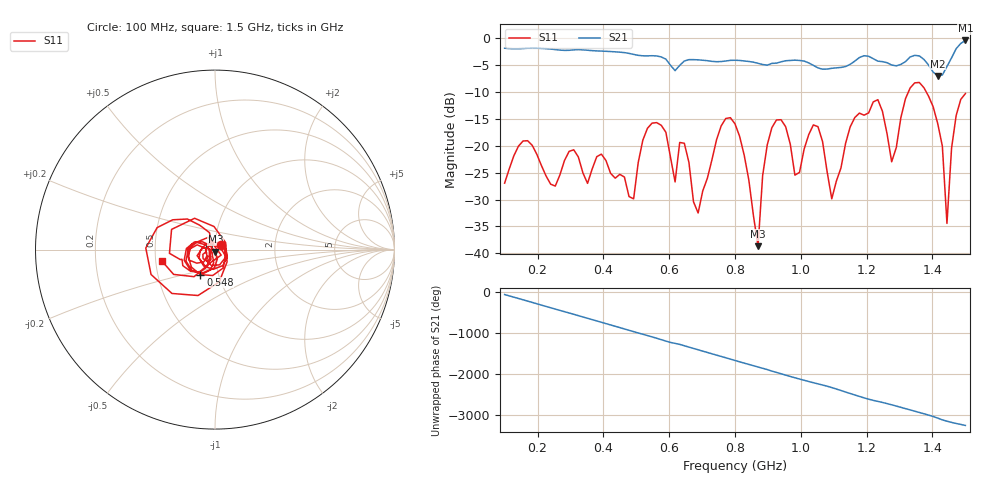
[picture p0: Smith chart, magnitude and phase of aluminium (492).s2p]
! NanoVNA-App
! Date: 2025-09-25 14:59:06
! Start: 100MHz Stop: 1,5GHz Points: 101
! S-Parameter data: F S11 S21 S12 S22
# Hz S RI R 50
!  Frequency  S11_Real  S11_Imag  S21_Real  S21_Imag  S12_Real  S12_Imag  S22_Real  S22_Imag
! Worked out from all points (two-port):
!   101 points, 100 MHz to 1.5 GHz, reference 50 ohm
!   highest |S21| = -0.48 dB at 1.5 GHz (marker M1); lowest = -7.1 dB at 1.416 GHz (marker M2)
!   |S21| within 3 dB of the highest: start of sweep to 571.6 MHz; 1.46 GHz to end of sweep (the widest 2 of 4)
!   lowest |S11| = -38.7 dB at 870 MHz (marker M3), VSWR 1.02, Z = 50.2 - j1.16 ohm
!   |S11| at or under -10 dB: start of sweep to 1.327 GHz; 1.381 GHz to end of sweep
!   S12 and S22 are empty: the file has one direction only
!   S11 on the Smith chart (normalised r, x): 100 MHz: 1.07, +0.06; 548 MHz: 0.82, -0.23; 1.5 GHz: 0.54, -0.07
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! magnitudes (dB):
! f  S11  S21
! 100 MHz  -27.0  -1.9
! 156 MHz  -19.1  -2.0
! 338 MHz  -25.1  -2.2
! 492 MHz  -29.9  -3.1
! 548 MHz  -15.8  -3.3
! 576 MHz  -16.2  -3.5
! 618 MHz  -26.7  -6.1
! 646 MHz  -19.6  -4.3
! 688 MHz  -32.5  -4.1
! 800 MHz  -16.0  -4.2
! 870 MHz  -38.7  -4.7
! 912 MHz  -16.7  -4.7
! 982 MHz  -25.5  -4.1
! 1.038 GHz  -16.2  -5.1
! 1.094 GHz  -29.9  -5.6
! 1.22 GHz  -11.9  -3.9
! 1.276 GHz  -23.0  -5.0
! 1.346 GHz  -8.4  -3.2
! 1.416 GHz  -15.9  -7.1
! 1.444 GHz  -34.4  -5.3
! 1.472 GHz  -14.4  -2.0
! 1.5 GHz  -10.3  -0.5
